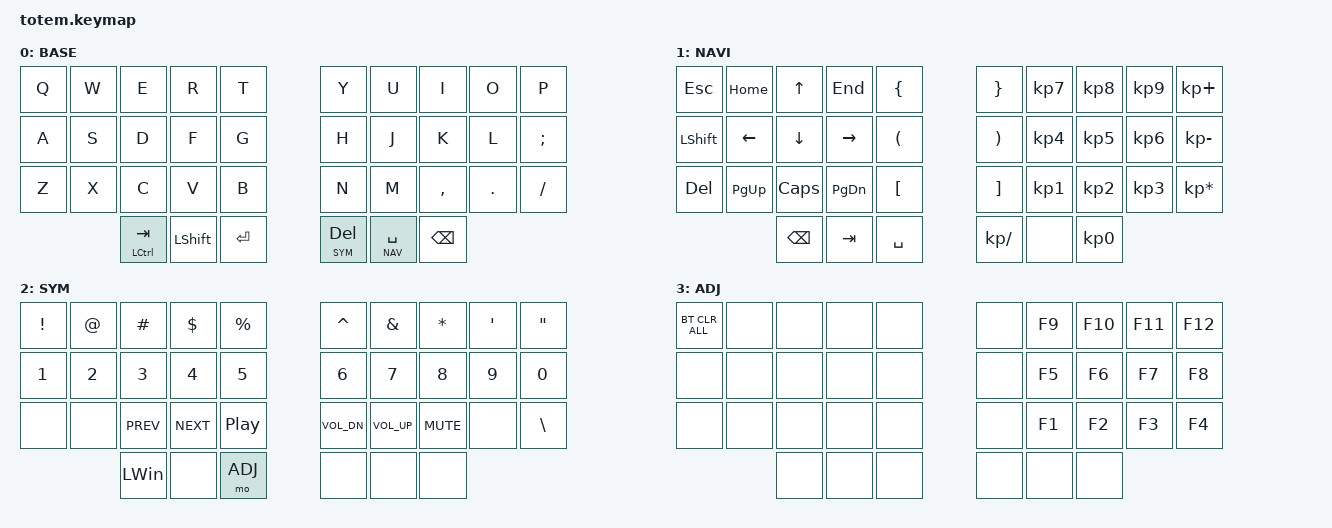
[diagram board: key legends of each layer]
//
//                                                        ▀▀▀▀▀     ▀▀▀▀▀          ▀▀█▀▀
//                                                        ▄▀▀▀▄  ▄  ▄▀▀▀▄  ▄  ▄▀▀▀▄  █  ▄▀▀▀▄
//                                                        █   █  █  █   █  █  █   █  █  █   █
//                                                         ▀▀▀   █   ▀▀▀   █   ▀▀▀   ▀   ▀▀▀
//                                                               █      ▄▄▄█▄▄▄    █   █  
//                                                               ▀      █  █  █     █▄█
//                                                             ▀▀▀▀▀    █  █  █      ▀
//                                                                      ▀  ▀  ▀
//
// ▄▄▄▄▄▄▄▄▄▄▄▄▄▄▄▄▄▄▄▄▄▄▄▄▄▄▄▄▄▄▄▄▄▄▄▄▄▄▄▄▄▄▄▄▄▄▄▄▄▄▄▄▄▄▄▄▄▄▄▄▄▄▄▄▄▄▄▄▄▄▄▄▄▄▄▄▄▄▄▄▄▄▄▄▄▄▄▄▄▄▄▄▄▄▄▄▄▄▄▄▄▄▄▄▄▄▄▄▄▄▄▄▄▄▄▄▄▄▄▄▄▄▄▄▄▄▄▄▄▄▄▄▄▄▄▄▄▄▄▄▄▄▄▄▄▄▄▄▄
       

#include <behaviors.dtsi>
#include <dt-bindings/zmk/keys.h>
#include <dt-bindings/zmk/bt.h>
#include <dt-bindings/zmk/outputs.h>

#define BASE 0
#define NAV  1
#define SYM  2
#define ADJ  3

// timeout for the combos. see below
#define TIMEOUT 50

&mt {
  quick-tap-ms = <200>;
  global-quick-tap;
  flavor = "tap-preferred";
  tapping-term-ms = <170>;
};

/ {
        keymap {
                compatible = "zmk,keymap";
// ▄▄▄▄▄▄▄▄▄▄▄▄▄▄▄▄▄▄▄▄▄▄▄▄▄▄▄▄▄▄▄▄▄▄▄▄▄▄▄▄▄▄▄▄▄▄▄▄▄▄▄▄▄▄▄▄▄▄▄▄▄▄▄▄▄▄▄▄▄▄▄▄▄▄▄▄▄▄▄▄▄▄▄▄▄▄▄▄▄▄▄▄▄▄▄▄▄▄▄▄▄▄▄▄▄▄▄▄▄▄▄▄▄▄▄▄▄▄▄▄▄▄▄▄▄▄▄▄▄▄▄▄▄▄▄▄▄▄▄▄▄▄▄▄▄▄▄▄▄

                base_layer {
// ┏━━━━━━━━━━━━━━━━━━━━━━━━━━━━━━━━━━━━━━━┓
label= "BASE"                              ;
// ┗━━━━━━━━━━━━━━━━━━━━━━━━━━━━━━━━━━━━━━━┛
//             ┏━━━━━━━━━━━┳━━━━━━━━━━━┳━━━━━━━━━━━┳━━━━━━━━━━━┳━━━━━━━━━━━┓   ┏━━━━━━━━━━━┳━━━━━━━━━━━┳━━━━━━━━━━━┳━━━━━━━━━━━┳━━━━━━━━━━━┓
//             ┃     Q     ┃     W     ┃     E     ┃     R     ┃     T     ┃   ┃     Y     ┃     U     ┃     I     ┃     O     ┃     P     ┃
//             ┣━━━━━━━━━━━╋━━━━━━━━━━━╋━━━━━━━━━━━╋━━━━━━━━━━━╋━━━━━━━━━━━┫   ┣━━━━━━━━━━━╋━━━━━━━━━━━╋━━━━━━━━━━━╋━━━━━━━━━━━╋━━━━━━━━━━━┫
//             ┃     A     ┃     S     ┃     D     ┃     F     ┃     G     ┃   ┃     H     ┃     J     ┃     K     ┃     L     ┃     ;     ┃
//             ┣━━━━━━━━━━━╋━━━━━━━━━━━╋━━━━━━━━━━━╋━━━━━━━━━━━╋━━━━━━━━━━━┫   ┣━━━━━━━━━━━╋━━━━━━━━━━━╋━━━━━━━━━━━╋━━━━━━━━━━━╋━━━━━━━━━━━┫
//             ┃     Z     ┃     X     ┃     C     ┃     V     ┃     B     ┃   ┃     N     ┃     M     ┃     ,     ┃     .     ┃     /     ┃
//             ┗━━━━━━━━━━━┻━━━━━━━━━━━╋━━━━━━━━━━━╋━━━━━━━━━━━╋━━━━━━━━━━━┫   ┣━━━━━━━━━━━╋━━━━━━━━━━━╋━━━━━━━━━━━╋━━━━━━━━━━━┻━━━━━━━━━━━┛
//                                     ┃  CTRL/TAB ┃  LSHIFT   ┃   ENTER   ┃   ┃  DEL/SYM  ┃  SPC/NAV  ┃   BSPC    ┃
//                                     ┗━━━━━━━━━━━┻━━━━━━━━━━━┻━━━━━━━━━━━┛   ┗━━━━━━━━━━━┻━━━━━━━━━━━┻━━━━━━━━━━━┛
 bindings = <
// ╷           ╷           ╷           ╷           ╷           ╷           ╷   ╷           ╷           ╷           ╷           ╷           ╷

                &kp Q       &kp W       &kp E       &kp R       &kp T           &kp Y       &kp U       &kp I       &kp O       &kp P
                &kp A       &kp S       &kp D       &kp F       &kp G           &kp H       &kp J       &kp K       &kp L       &kp SEMI
                &kp Z       &kp X       &kp C       &kp V       &kp B           &kp N       &kp M       &kp COMMA   &kp DOT     &kp FSLH   
                                        &mt LCTRL TAB &kp LSHFT &kp RET         &lt SYM DEL &lt NAV SPC &kp BSPC
                        >;
                };

// ▄▄▄▄▄▄▄▄▄▄▄▄▄▄▄▄▄▄▄▄▄▄▄▄▄▄▄▄▄▄▄▄▄▄▄▄▄▄▄▄▄▄▄▄▄▄▄▄▄▄▄▄▄▄▄▄▄▄▄▄▄▄▄▄▄▄▄▄▄▄▄▄▄▄▄▄▄▄▄▄▄▄▄▄▄▄▄▄▄▄▄▄▄▄▄▄▄▄▄▄▄▄▄▄▄▄▄▄▄▄▄▄▄▄▄▄▄▄▄▄▄▄▄▄▄▄▄▄▄▄▄▄▄▄▄▄▄▄▄▄▄▄▄▄▄▄▄▄▄


                nav_layer {
// ┏━━━━━━━━━━━━━━━━━━━━━━━━━━━━━━━━━━━━━━━┓
label= "NAVI"                              ;
// ┗━━━━━━━━━━━━━━━━━━━━━━━━━━━━━━━━━━━━━━━┛
//             ┏━━━━━━━━━━━┳━━━━━━━━━━━┳━━━━━━━━━━━┳━━━━━━━━━━━┳━━━━━━━━━━━┓   ┏━━━━━━━━━━━┳━━━━━━━━━━━┳━━━━━━━━━━━┳━━━━━━━━━━━┳━━━━━━━━━━━┓
//             ┃    ESC    ┃   HOME    ┃     UP    ┃    END    ┃     {     ┃   ┃     }     ┃     7     ┃     8     ┃     9     ┃     +     ┃
//             ┣━━━━━━━━━━━╋━━━━━━━━━━━╋━━━━━━━━━━━╋━━━━━━━━━━━╋━━━━━━━━━━━┫   ┣━━━━━━━━━━━╋━━━━━━━━━━━╋━━━━━━━━━━━╋━━━━━━━━━━━╋━━━━━━━━━━━┫
//             ┃   SHIFT   ┃   LEFT    ┃    DOWN   ┃   RIGHT   ┃     (     ┃   ┃     )     ┃     4     ┃     5     ┃     6     ┃     -     ┃
//             ┣━━━━━━━━━━━╋━━━━━━━━━━━╋━━━━━━━━━━━╋━━━━━━━━━━━╋━━━━━━━━━━━┫   ┣━━━━━━━━━━━╋━━━━━━━━━━━╋━━━━━━━━━━━╋━━━━━━━━━━━╋━━━━━━━━━━━┫
//             ┃    DEL    ┃   P UP    ┃  C LOCK   ┃  P DOWN   ┃     [     ┃   ┃     ]     ┃     1     ┃     2     ┃     3     ┃     *     ┃
//             ┗━━━━━━━━━━━┻━━━━━━━━━━━╋━━━━━━━━━━━╋━━━━━━━━━━━╋━━━━━━━━━━━┫   ┣━━━━━━━━━━━╋━━━━━━━━━━━╋━━━━━━━━━━━╋━━━━━━━━━━━┻━━━━━━━━━━━┛
//                                     ┃    BSPC   ┃    TAB    ┃    SPC    ┃   ┃     /     ┃    ---    ┃     0     ┃
//                                     ┗━━━━━━━━━━━┻━━━━━━━━━━━┻━━━━━━━━━━━┛   ┗━━━━━━━━━━━┻━━━━━━━━━━━┻━━━━━━━━━━━┛
 bindings = <
// ╷           ╷           ╷           ╷           ╷           ╷           ╷   ╷           ╷           ╷           ╷           ╷           ╷

                &kp ESC     &kp HOME    &kp UP      &kp END     &kp LBRC        &kp RBRC    &kp KP_N7   &kp KP_N8   &kp KP_N9   &kp KP_PLUS
                &kp LSHFT   &kp LEFT    &kp DOWN    &kp RIGHT   &kp LPAR        &kp RPAR    &kp KP_N4   &kp KP_N5   &kp KP_N6   &kp KP_MINUS
                &kp DEL     &kp PG_UP   &kp CAPS    &kp PG_DN   &kp LBKT        &kp RBKT    &kp KP_N1   &kp KP_N2   &kp KP_N3   &kp KP_MULTIPLY     
                                        &kp BSPC    &kp TAB     &kp SPC         &kp KP_DIVIDE &none     &kp KP_N0
                        >;
                };

// ▄▄▄▄▄▄▄▄▄▄▄▄▄▄▄▄▄▄▄▄▄▄▄▄▄▄▄▄▄▄▄▄▄▄▄▄▄▄▄▄▄▄▄▄▄▄▄▄▄▄▄▄▄▄▄▄▄▄▄▄▄▄▄▄▄▄▄▄▄▄▄▄▄▄▄▄▄▄▄▄▄▄▄▄▄▄▄▄▄▄▄▄▄▄▄▄▄▄▄▄▄▄▄▄▄▄▄▄▄▄▄▄▄▄▄▄▄▄▄▄▄▄▄▄▄▄▄▄▄▄▄▄▄▄▄▄▄▄▄▄▄▄▄▄▄▄▄▄▄


                sim_layer {
// ┏━━━━━━━━━━━━━━━━━━━━━━━━━━━━━━━━━━━━━━━┓
label= "SYM"                               ;
// ┗━━━━━━━━━━━━━━━━━━━━━━━━━━━━━━━━━━━━━━━┛
//             ┏━━━━━━━━━━━┳━━━━━━━━━━━┳━━━━━━━━━━━┳━━━━━━━━━━━┳━━━━━━━━━━━┓   ┏━━━━━━━━━━━┳━━━━━━━━━━━┳━━━━━━━━━━━┳━━━━━━━━━━━┳━━━━━━━━━━━┓
//             ┃     !     ┃     @     ┃     #     ┃     $     ┃     %     ┃   ┃     ˆ     ┃     &     ┃     *     ┃     '     ┃     "     ┃
//             ┣━━━━━━━━━━━╋━━━━━━━━━━━╋━━━━━━━━━━━╋━━━━━━━━━━━╋━━━━━━━━━━━┫   ┣━━━━━━━━━━━╋━━━━━━━━━━━╋━━━━━━━━━━━╋━━━━━━━━━━━╋━━━━━━━━━━━┫
//             ┃     1     ┃     2     ┃     3     ┃     4     ┃     5     ┃   ┃     6     ┃     7     ┃     8     ┃     9     ┃     0     ┃
//             ┣━━━━━━━━━━━╋━━━━━━━━━━━╋━━━━━━━━━━━╋━━━━━━━━━━━╋━━━━━━━━━━━┫   ┣━━━━━━━━━━━╋━━━━━━━━━━━╋━━━━━━━━━━━╋━━━━━━━━━━━╋━━━━━━━━━━━┫
//             ┃           ┃   LAST    ┃   NEXT    ┃   MUTE    ┃  PLY/PSE  ┃   ┃   VOL-    ┃   VOL+    ┃   MUTE    ┃           ┃     \     ┃
//             ┗━━━━━━━━━━━┻━━━━━━━━━━━╋━━━━━━━━━━━╋━━━━━━━━━━━╋━━━━━━━━━━━┫   ┣━━━━━━━━━━━╋━━━━━━━━━━━╋━━━━━━━━━━━╋━━━━━━━━━━━┻━━━━━━━━━━━┛
//                                     ┃    WIN    ┃           ┃    ADJ    ┃   ┃    ---    ┃           ┃           ┃
//                                     ┗━━━━━━━━━━━┻━━━━━━━━━━━┻━━━━━━━━━━━┛   ┗━━━━━━━━━━━┻━━━━━━━━━━━┻━━━━━━━━━━━┛
 bindings = <
// ╷           ╷           ╷           ╷           ╷           ╷           ╷   ╷           ╷           ╷           ╷           ╷           ╷

                &kp EXCL    &kp AT      &kp HASH    &kp DLLR    &kp PRCNT       &kp CARET   &kp AMPS    &kp STAR    &kp SQT     &kp DQT       
                &kp N1      &kp N2      &kp N3      &kp N4      &kp N5          &kp N6      &kp N7      &kp N8      &kp N9      &kp N0  
                &none       &none       &kp C_PREV  &kp C_NEXT  &kp C_PP        &kp C_VOL_DN &kp C_VOL_UP &kp C_MUTE &none      &kp BSLH     
                                        &kp LWIN    &none       &mo ADJ         &none       &none       &none       
                        >;
                };

// ▄▄▄▄▄▄▄▄▄▄▄▄▄▄▄▄▄▄▄▄▄▄▄▄▄▄▄▄▄▄▄▄▄▄▄▄▄▄▄▄▄▄▄▄▄▄▄▄▄▄▄▄▄▄▄▄▄▄▄▄▄▄▄▄▄▄▄▄▄▄▄▄▄▄▄▄▄▄▄▄▄▄▄▄▄▄▄▄▄▄▄▄▄▄▄▄▄▄▄▄▄▄▄▄▄▄▄▄▄▄▄▄▄▄▄▄▄▄▄▄▄▄▄▄▄▄▄▄▄▄▄▄▄▄▄▄▄▄▄▄▄▄▄▄▄▄▄▄▄


                adjust_layer {
// ┏━━━━━━━━━━━━━━━━━━━━━━━━━━━━━━━━━━━━━━━┓
label= "ADJ"                               ;
// ┗━━━━━━━━━━━━━━━━━━━━━━━━━━━━━━━━━━━━━━━┛
//             ┏━━━━━━━━━━━┳━━━━━━━━━━━┳━━━━━━━━━━━┳━━━━━━━━━━━┳━━━━━━━━━━━┓   ┏━━━━━━━━━━━┳━━━━━━━━━━━┳━━━━━━━━━━━┳━━━━━━━━━━━┳━━━━━━━━━━━┓
//             ┃ BT_CLR_ALL┃           ┃           ┃           ┃           ┃   ┃           ┃    F9     ┃    F10    ┃    F11    ┃    F12    ┃
//             ┣━━━━━━━━━━━╋━━━━━━━━━━━╋━━━━━━━━━━━╋━━━━━━━━━━━╋━━━━━━━━━━━┫   ┣━━━━━━━━━━━╋━━━━━━━━━━━╋━━━━━━━━━━━╋━━━━━━━━━━━╋━━━━━━━━━━━┫
//             ┃           ┃           ┃           ┃           ┃           ┃   ┃           ┃    F5     ┃    F6     ┃    F7     ┃    F8     ┃
//             ┣━━━━━━━━━━━╋━━━━━━━━━━━╋━━━━━━━━━━━╋━━━━━━━━━━━╋━━━━━━━━━━━┫   ┣━━━━━━━━━━━╋━━━━━━━━━━━╋━━━━━━━━━━━╋━━━━━━━━━━━╋━━━━━━━━━━━┫
//             ┃           ┃           ┃           ┃           ┃           ┃   ┃           ┃    F1     ┃    F2     ┃    F3     ┃    F4     ┃
//             ┗━━━━━━━━━━━┻━━━━━━━━━━━╋━━━━━━━━━━━╋━━━━━━━━━━━╋━━━━━━━━━━━┫   ┣━━━━━━━━━━━╋━━━━━━━━━━━╋━━━━━━━━━━━╋━━━━━━━━━━━┻━━━━━━━━━━━┛
//                                     ┃           ┃           ┃    ---    ┃   ┃    ---    ┃           ┃           ┃
//                                     ┗━━━━━━━━━━━┻━━━━━━━━━━━┻━━━━━━━━━━━┛   ┗━━━━━━━━━━━┻━━━━━━━━━━━┻━━━━━━━━━━━┛
 bindings = <
// ╷           ╷           ╷           ╷           ╷           ╷           ╷   ╷           ╷           ╷           ╷           ╷           ╷

                &bt BT_CLR_ALL &none    &none       &none       &none           &none       &kp F9      &kp F10     &kp F11     &kp F12
                &none       &none       &none       &none       &none           &none       &kp F5      &kp F6      &kp F7      &kp F8  
                &none       &none       &none       &none       &none           &none       &kp F1      &kp F2      &kp F3      &kp F4        
                                        &none       &none       &none           &none       &none       &none       
                        >;
                };
        };


//                   Here's how they're accessed for combos
//
//         0   1   2   3   4                      5   6   7   8   9
//        10  11  12  13  14                      15  16  17  18  19
//        20  21  22  23  24                      25  26  27  28  29
//                      30  31  32          33  34  35

combos {
            compatible = "zmk,combos";
            combo_esc {
                timeout-ms = <TIMEOUT>;
                key-positions = <0 1>;
                bindings = <&kp ESC>;
            };
    };

};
